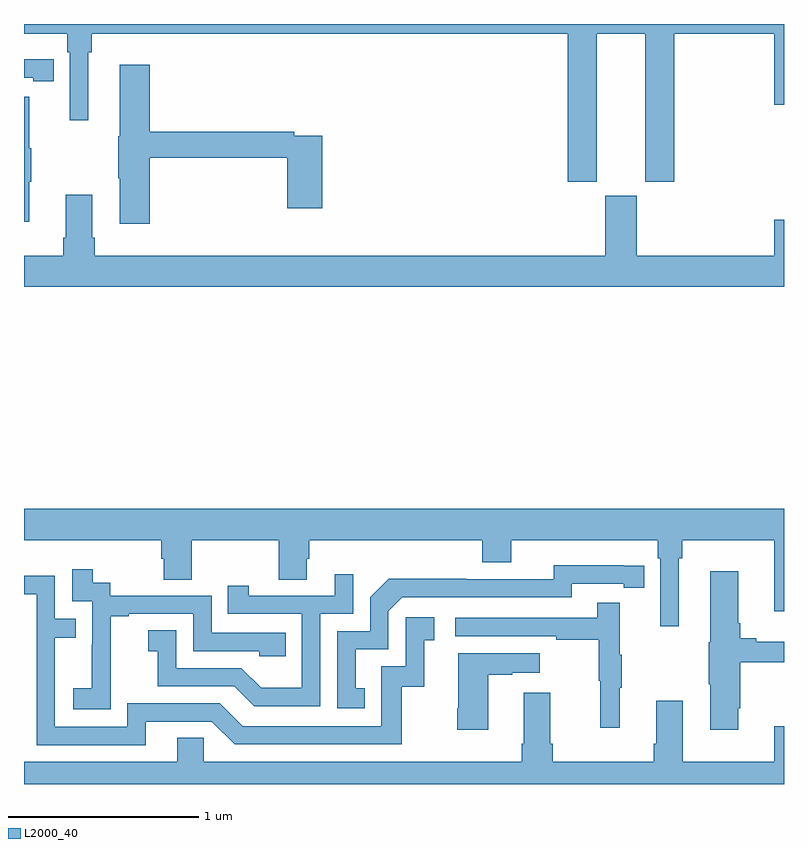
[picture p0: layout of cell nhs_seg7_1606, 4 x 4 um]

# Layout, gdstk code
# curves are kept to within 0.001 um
import gdstk
lib = gdstk.Library(unit=1e-6, precision=1e-09)
def P(c, l, *ps):  # polygons
    for p in ps: c.add(gdstk.Polygon(p, *l))
L2000_40 = (2000, 40)

nhs_seg7_1606 = lib.new_cell('nhs_seg7_1606')
P(nhs_seg7_1606, L2000_40, [(221,1001.948),(221.228,1001.948),(221.228,1001.852),(221.241,1001.852),(221.241,1001.493),(221.338,1001.493),(221.338,1001.852),(221.357,1001.852),(221.357,1001.948),(223.862,1001.948),(223.862,1001.169),(224.014,1001.169),(224.014,1001.948),(224.27,1001.948),(224.27,1001.169),(224.423,1001.169),(224.423,1001.948),(224.948,1001.948),(224.948,1001.574),(225,1001.574),(225,1002),(221,1002)],
  [(221.156,1001.814),(221.048,1001.814),(221.048,1001.815),(221,1001.815),(221,1001.718),(221.048,1001.718),(221.048,1001.698),(221.156,1001.698)],
  [(221.663,1001.296),(222.386,1001.296),(222.386,1001.031),(222.569,1001.031),(222.569,1001.412),(222.422,1001.412),(222.422,1001.432),(221.663,1001.432),(221.663,1001.785),(221.504,1001.785),(221.504,1001.409),(221.497,1001.409),(221.497,1001.188),(221.504,1001.188),(221.504,1000.95),(221.663,1000.95)],
  [(221.027,1001.171),(221.038,1001.171),(221.038,1001.345),(221.027,1001.345),(221.027,1001.617),(221,1001.617),(221,1000.959),(221.027,1000.959)],
  [(225,1000.969),(224.948,1000.969),(224.948,1000.78),(224.224,1000.78),(224.224,1001.097),(224.06,1001.097),(224.06,1000.78),(221.372,1000.78),(221.372,1000.876),(221.359,1000.876),(221.359,1001.101),(221.219,1001.101),(221.219,1000.876),(221.207,1000.876),(221.207,1000.78),(221,1000.78),(221,1000.616),(225,1000.616)],
  [(224.446,999.188),(224.465,999.188),(224.465,999.284),(224.948,999.284),(224.948,998.91),(225,998.91),(225,999.448),(221,999.448),(221,999.284),(221.723,999.284),(221.723,999.186),(221.735,999.186),(221.735,999.076),(221.883,999.076),(221.883,999.284),(222.34,999.284),(222.34,999.076),(222.487,999.076),(222.487,999.186),(222.5,999.186),(222.5,999.284),(223.412,999.284),(223.412,999.167),(223.564,999.167),(223.564,999.284),(224.336,999.284),(224.336,999.188),(224.349,999.188),(224.349,998.829),(224.446,998.829)],
  [(222.794,998.505),(222.745,998.505),(222.745,998.709),(222.918,998.709),(222.918,998.91),(222.99,998.982),(223.884,998.982),(223.884,999.054),(224.156,999.054),(224.156,999.034),(224.264,999.034),(224.264,999.15),(223.788,999.151),(223.788,999.078),(223.328,999.078),(223.328,999.08),(222.92,999.08),(222.822,998.982),(222.822,998.805),(222.648,998.805),(222.648,998.4),(222.794,998.4)],
  [(221.457,998.599),(221.456,998.599),(221.456,998.883),(221.551,998.883),(221.551,998.895),(221.892,998.895),(221.892,998.7),(222.237,998.7),(222.237,998.673),(222.377,998.673),(222.377,998.796),(221.988,998.796),(221.988,998.991),(221.454,998.991),(221.454,999.06),(221.362,999.06),(221.362,999.13),(221.253,999.13),(221.253,998.961),(221.358,998.961),(221.358,998.732),(221.357,998.732),(221.357,998.503),(221.259,998.503),(221.259,998.393),(221.457,998.393)],
  [(224.758,998.398),(224.771,998.398),(224.771,998.64),(225,998.64),(225,998.749),(224.854,998.749),(224.854,998.768),(224.771,998.768),(224.771,998.845),(224.758,998.845),(224.758,999.121),(224.612,999.121),(224.612,998.745),(224.605,998.745),(224.605,998.524),(224.612,998.524),(224.612,998.286),(224.758,998.286)],
  [(222.558,998.895),(222.732,998.895),(222.732,999.103),(222.635,999.103),(222.635,998.991),(222.184,998.991),(222.184,999.043),(222.073,999.043),(222.073,998.895),(222.462,998.895),(222.462,998.506),(222.248,998.506),(222.144,998.61),(221.802,998.61),(221.802,998.809),(221.655,998.809),(221.655,998.699),(221.704,998.699),(221.704,998.514),(222.107,998.514),(222.212,998.409),(222.558,998.409)],
  [(221.641,998.328),(221.988,998.328),(222.108,998.208),(222.988,998.208),(222.988,998.511),(223.106,998.511),(223.106,998.757),(223.159,998.757),(223.159,998.878),(223.008,998.878),(223.008,998.619),(222.879,998.619),(222.879,998.304),(222.15,998.304),(222.03,998.424),(221.544,998.424),(221.544,998.301),(221.163,998.301),(221.163,998.77),(221.273,998.77),(221.273,998.871),(221.163,998.871),(221.163,999.096),(221,999.096),(221,999),(221.067,999),(221.067,998.205),(221.641,998.205)],
  [(224.135,998.507),(224.146,998.507),(224.146,998.681),(224.135,998.681),(224.135,998.953),(224.017,998.953),(224.017,998.874),(223.269,998.874),(223.269,998.778),(223.801,998.778),(223.801,998.758),(224.025,998.758),(224.025,998.544),(224.032,998.544),(224.032,998.295),(224.135,998.295)],
  [(223.444,998.575),(223.571,998.575),(223.571,998.585),(223.714,998.585),(223.714,998.689),(223.286,998.689),(223.286,998.398),(223.279,998.398),(223.279,998.286),(223.444,998.286)],
  [(225,998.305),(224.948,998.305),(224.948,998.116),(224.467,998.116),(224.467,998.437),(224.327,998.437),(224.327,998.212),(224.315,998.212),(224.315,998.116),(223.784,998.116),(223.784,998.212),(223.771,998.212),(223.771,998.479),(223.631,998.479),(223.631,998.212),(223.619,998.212),(223.619,998.116),(221.946,998.116),(221.946,998.243),(221.807,998.243),(221.807,998.116),(221,998.116),(221,998),(225,998)])

lib.write_gds('nhs_seg7_1606.gds')
